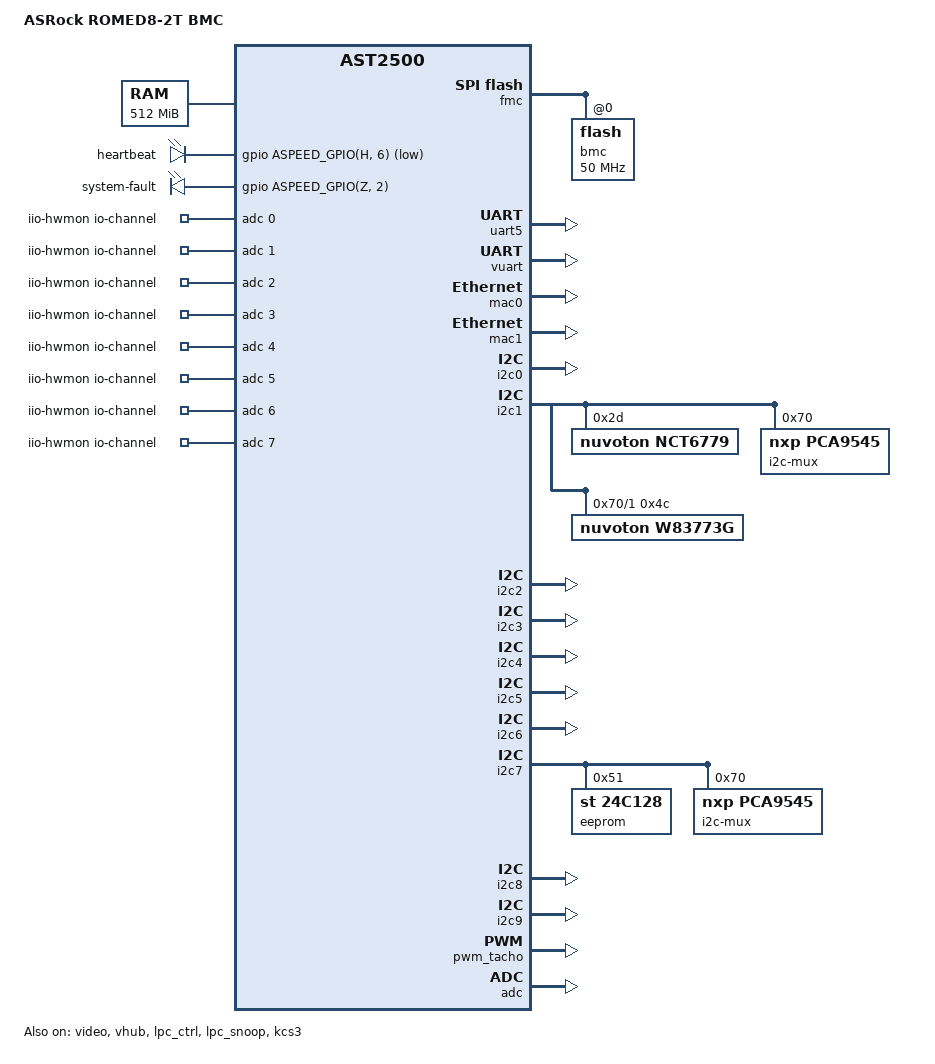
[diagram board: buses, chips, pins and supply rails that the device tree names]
// SPDX-License-Identifier: GPL-2.0+
/*
 * ASRock Rack ROMED8-2T BMC (AST2500)
 *
 * Derived from aspeed-bmc-asrock-romed8hm3.dts. Board facts below were taken
 * from the vendor BMC firmware (ROMED8-2T 3.08.00) where noted; items marked
 * "UNVERIFIED" still need confirmation on real hardware.
 */
/dts-v1/;

#include "aspeed-g5.dtsi"
#include <dt-bindings/gpio/aspeed-gpio.h>
#include <dt-bindings/interrupt-controller/irq.h>

/{
	model = "ASRock ROMED8-2T BMC";
	compatible = "asrock,romed8-2t-bmc", "aspeed,ast2500";

	aliases {
		serial4 = &uart5;
		i2c20 = &i2c1_mux_ch0;
		i2c21 = &i2c1_mux_ch1;
		i2c22 = &i2c1_mux_ch2;
		i2c23 = &i2c1_mux_ch3;
		i2c24 = &i2c7_mux_ch0;
		i2c25 = &i2c7_mux_ch1;
		i2c26 = &i2c7_mux_ch2;
		i2c27 = &i2c7_mux_ch3;
	};

	chosen {
		stdout-path = &uart5;
		bootargs = "console=tty0 console=ttyS4,115200 earlycon";
	};

	/* 512 MiB, same as vendor device tree */
	memory@80000000 {
		reg = <0x80000000 0x20000000>;
	};


	leds {
		compatible = "gpio-leds";

		/* UNVERIFIED: pin assumed identical to ROMED8HM3 (GPIOH6) */
		heartbeat {
			gpios = <&gpio ASPEED_GPIO(H, 6) GPIO_ACTIVE_LOW>;
			linux,default-trigger = "timer";
		};

		/* UNVERIFIED: pin assumed identical to ROMED8HM3 (GPIOZ2) */
		system-fault {
			gpios = <&gpio ASPEED_GPIO(Z, 2) GPIO_ACTIVE_HIGH>;
			panic-indicator;
		};
	};

	iio-hwmon {
		compatible = "iio-hwmon";
		io-channels = <&adc 0>, <&adc 1>, <&adc 2>, <&adc 3>,
			<&adc 4>, <&adc 5>, <&adc 6>, <&adc 7>,
			<&adc 8>, <&adc 9>, <&adc 10>, <&adc 11>,
			<&adc 12>, <&adc 13>, <&adc 14>, <&adc 15>;
	};
};

/* 64 MiB SPI-NOR: vendor image ROMED8-2T_3.08.00.ima is 64 MiB */
&fmc {
	status = "okay";
	flash@0 {
		status = "okay";
		m25p,fast-read;
		label = "bmc";
		spi-max-frequency = <50000000>; /* 50 MHz, as vendor */
#include "openbmc-flash-layout-64.dtsi"
	};
};

&uart5 {
	status = "okay";
};

/* UNVERIFIED: host SOL port; matches other ASRock boards (COM2, 0x2f8/IRQ3) */
&vuart {
	status = "okay";
	aspeed,lpc-io-reg = <0x2f8>;
	aspeed,lpc-interrupts = <3 IRQ_TYPE_LEVEL_HIGH>;
};

/* Dedicated IPMI LAN port: RGMII PHY on MDIO1 (vendor DT: RGMII1 + MDIO1) */
&mac0 {
	status = "okay";

	pinctrl-names = "default";
	pinctrl-0 = <&pinctrl_rgmii1_default &pinctrl_mdio1_default>;

	nvmem-cells = <&eth0_macaddress>;
	nvmem-cell-names = "mac-address";
};

/*
 * Shared LAN via NC-SI to the Intel X550-AT2 (vendor: NCSI default interface
 * eth1). UNVERIFIED: RMII2 pinmux and NC-SI package/channel selection.
 */
&mac1 {
	status = "okay";

	pinctrl-names = "default";
	pinctrl-0 = <&pinctrl_rmii2_default>;
	use-ncsi;

	nvmem-cells = <&eth1_macaddress>;
	nvmem-cell-names = "mac-address";
};

&i2c0 {
	status = "okay";
};

/* Hardware monitoring bus (vendor: NCT6779D, PCA9545A mux) */
&i2c1 {
	status = "okay";

	/* Nuvoton NCT6779D super-I/O, hwmon over I2C */
	nct6779@2d {
		compatible = "nuvoton,nct6779";
		reg = <0x2d>;
	};

	i2c-mux@70 {
		compatible = "nxp,pca9545";
		reg = <0x70>;
		#address-cells = <1>;
		#size-cells = <0>;
		i2c-mux-idle-disconnect;

		i2c1_mux_ch0: i2c@0 {
			#address-cells = <1>;
			#size-cells = <0>;
			reg = <0>;
		};

		i2c1_mux_ch1: i2c@1 {
			#address-cells = <1>;
			#size-cells = <0>;
			reg = <1>;

			/* "MB Temp" / "Card Side Temp" */
			w83773g@4c {
				compatible = "nuvoton,w83773g";
				reg = <0x4c>;
			};
		};

		/* M.2_1 NVMe-MI endpoint (0x6a) */
		i2c1_mux_ch2: i2c@2 {
			#address-cells = <1>;
			#size-cells = <0>;
			reg = <2>;
		};

		/* M.2_2 NVMe-MI endpoint (0x6a) */
		i2c1_mux_ch3: i2c@3 {
			#address-cells = <1>;
			#size-cells = <0>;
			reg = <3>;
		};
	};
};

/* PSU PMBus (PSU1 0x58, PSU2 0x59); populated by entity-manager on demand */
&i2c2 {
	status = "okay";
};

&i2c3 {
	status = "okay";
};

&i2c4 {
	status = "okay";
};

&i2c5 {
	status = "okay";
};

/* SMBus to host (vendor SMBUS_BUS_NUM) */
&i2c6 {
	status = "okay";
};

/* FRU EEPROM + DIMM SPD mux */
&i2c7 {
	status = "okay";

	/* Baseboard FRU eeprom; vendor reads MACs at 0x3f80 / 0x3f88 */
	eeprom@51 {
		compatible = "st,24c128", "atmel,24c128";
		reg = <0x51>;
		pagesize = <16>;

		nvmem-layout {
			compatible = "fixed-layout";
			#address-cells = <1>;
			#size-cells = <1>;

			eth0_macaddress: macaddress@3f80 {
				reg = <0x3f80 6>;
			};

			eth1_macaddress: macaddress@3f88 {
				reg = <0x3f88 6>;
			};
		};
	};

	/* DDR4 DIMM thermal sensors, channels A-D on ch0, E-H on ch1 */
	i2c-mux@70 {
		compatible = "nxp,pca9545";
		reg = <0x70>;
		#address-cells = <1>;
		#size-cells = <0>;
		i2c-mux-idle-disconnect;

		i2c7_mux_ch0: i2c@0 {
			#address-cells = <1>;
			#size-cells = <0>;
			reg = <0>;
		};

		i2c7_mux_ch1: i2c@1 {
			#address-cells = <1>;
			#size-cells = <0>;
			reg = <1>;
		};

		i2c7_mux_ch2: i2c@2 {
			#address-cells = <1>;
			#size-cells = <0>;
			reg = <2>;
		};

		i2c7_mux_ch3: i2c@3 {
			#address-cells = <1>;
			#size-cells = <0>;
			reg = <3>;
		};
	};
};

/* IPMB (vendor PRIMARY_IPMB_I2C_BUS_NUM) */
&i2c8 {
	status = "okay";
};

&i2c9 {
	status = "okay";
};

&video {
	status = "okay";
};

&vhub {
	status = "okay";
};

&lpc_ctrl {
	status = "okay";
};

&lpc_snoop {
	status = "okay";
	snoop-ports = <0x80>;
};

&kcs3 {
	status = "okay";
	aspeed,lpc-io-reg = <0xca2>;
};

/*
 * Seven fan headers, each with two tach inputs (vendor sensors FANn and
 * FANn_2 read tach n and n+8). UNVERIFIED: PWM channel per header.
 */
&pwm_tacho {
	status = "okay";
	pinctrl-names = "default";
	pinctrl-0 = <&pinctrl_pwm0_default
		&pinctrl_pwm1_default
		&pinctrl_pwm2_default
		&pinctrl_pwm3_default
		&pinctrl_pwm4_default
		&pinctrl_pwm5_default
		&pinctrl_pwm6_default>;

	fan@0 {
		reg = <0x00>;
		aspeed,fan-tach-ch = /bits/ 8 <0x00 0x08>;
	};

	fan@1 {
		reg = <0x01>;
		aspeed,fan-tach-ch = /bits/ 8 <0x01 0x09>;
	};

	fan@2 {
		reg = <0x02>;
		aspeed,fan-tach-ch = /bits/ 8 <0x02 0x0a>;
	};

	fan@3 {
		reg = <0x03>;
		aspeed,fan-tach-ch = /bits/ 8 <0x03 0x0b>;
	};

	fan@4 {
		reg = <0x04>;
		aspeed,fan-tach-ch = /bits/ 8 <0x04 0x0c>;
	};

	fan@5 {
		reg = <0x05>;
		aspeed,fan-tach-ch = /bits/ 8 <0x05 0x0d>;
	};

	fan@6 {
		reg = <0x06>;
		aspeed,fan-tach-ch = /bits/ 8 <0x06 0x0e>;
	};
};

/*
 * Line names follow ROMED8HM3. Confirmed from vendor firmware: D0/D1 power
 * button in/out, D3 reset out, J0 BMC_READY, J1 BIOS flash mux, AA2/AA3
 * PROCHOT redirection, AB3 SMI. The rest is UNVERIFIED.
 */
&gpio {
	status = "okay";
	gpio-line-names =
		/*  A */ "LOCATORLED_STATUS_N", "BMC_MAC2_INTB", "NMI_BTN_N", "BMC_NMI",
			"", "", "", "",
		/*  B */ "POST_COMPLETE_N", "", "", "", "", "", "", "",
		/*  C */ "", "", "", "", "PCIE_HP_SEL_N", "PCIE_SATA_SEL_N", "LOCATORBTN", "",
		/*  D */ "BMC_PSIN", "BMC_PSOUT", "BMC_RESETCON", "RESETCON",
			"", "", "", "PSU_FAN_FAIL_N",
		/*  E */ "", "", "", "", "", "", "", "",
		/*  F */ "NIC_PWR_GOOD", "PRSNTB0", "PRSNTB1", "PRSNTB2",
			"PRSNTB3", "", "3VSB_PCIE1_PG", "12V_PCIE1_PG",
		/*  G */ "HWM_BAT_EN", "CHASSIS_ID0", "CHASSIS_ID1", "CHASSIS_ID2",
			"BMC_ALERT1_N_R", "BMC_ALERT2_N_R", "BMC_ALERT3_N", "BMC_ALERT4_N",
		/*  H */ "X24_C1_PRSNT", "X24_C2_PRSNT", "X24_C3_PRSNT", "FM_MEM_THERM_EVENT_BMC_R_N",
			"FACMODE", "BMC_RTCRST", "BMC_HB_LED_N", "BMC_CASEOPEN",
		/*  I */ "", "", "", "", "", "", "", "",
		/*  J */ "BMC_READY", "BMC_PCH_BIOS_CS_N", "", "P0_MA_DDR_QS_CS_N",
			"", "", "", "",
		/*  K */ "", "", "", "", "", "", "", "",
		/*  L */ "", "", "", "", "", "", "", "",
		/*  M */ "", "", "MEZZ_PWRBRK_N", "OCP_HP_RST_EN",
			"MAIN_PWR_EN_G", "BMC_MAIN_EN", "AUX_PWR_EN_G", "BMC_AUX_EN",
		/*  N */ "", "", "", "", "", "", "", "",
		/*  O */ "", "", "", "", "", "", "", "",
		/*  P */ "", "", "", "", "", "", "", "",
		/*  Q */ "", "", "", "",
			"BMC_SMB_PRESENT_1_N", "BMC_SMB_PRESENT_2_N",
			"BMC_SMB_PRESENT_3_N", "BMC_PCIE_WAKE_N",
		/*  R */ "", "", "THERMALTRIP_CLEAR_N", "", "", "", "", "",
		/*  S */ "", "", "", "", "", "", "", "",
		/*  T */ "", "", "", "", "", "", "", "",
		/*  U */ "", "", "", "", "", "", "", "",
		/*  V */ "", "", "", "", "", "", "", "",
		/*  W */ "", "", "", "", "", "", "", "",
		/*  X */ "", "", "", "", "", "", "", "",
		/*  Y */ "SLP_S3", "SLP_S4_S5", "NODE_ID_1", "NODE_ID_2", "", "", "", "",
		/*  Z */ "", "", "SYSTEM_FAULT_LED_N", "FAST_THROTTLE_N",
			"", "", "", "",
		/* AA */ "FM_CPU0_IBMC_THERMTRIP_N", "", "PROCHOT_L_G", "",
			"", "", "", "",
		/* AB */ "BMC_FORCE_SELFREFRESH", "PWRGD_OUT", "", "IRQ_BMC_PCH_SMI_LPC_N",
			"", "", "", "",
		/* AC */ "", "", "", "", "", "", "", "";
};

&adc {
	status = "okay";
	pinctrl-names = "default";
	pinctrl-0 = <&pinctrl_adc0_default
		&pinctrl_adc1_default
		&pinctrl_adc2_default
		&pinctrl_adc3_default
		&pinctrl_adc4_default
		&pinctrl_adc5_default
		&pinctrl_adc6_default
		&pinctrl_adc7_default
		&pinctrl_adc8_default
		&pinctrl_adc9_default
		&pinctrl_adc10_default
		&pinctrl_adc11_default
		&pinctrl_adc12_default
		&pinctrl_adc13_default
		&pinctrl_adc14_default
		&pinctrl_adc15_default>;
};
